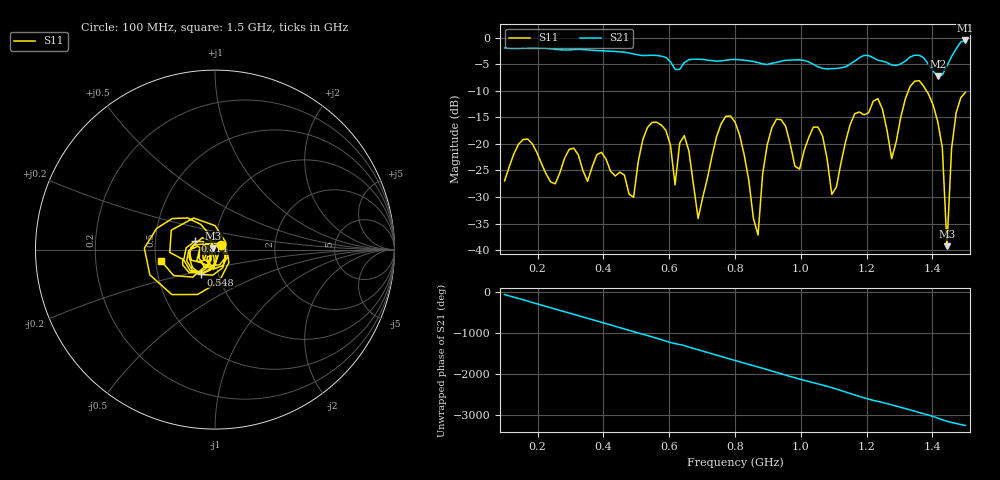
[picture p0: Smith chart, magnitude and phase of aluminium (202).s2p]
! NanoVNA-App
! Date: 2025-09-25 14:56:51
! Start: 100MHz Stop: 1,5GHz Points: 101
! S-Parameter data: F S11 S21 S12 S22
# Hz S RI R 50
!  Frequency  S11_Real  S11_Imag  S21_Real  S21_Imag  S12_Real  S12_Imag  S22_Real  S22_Imag
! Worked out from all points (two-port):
!   101 points, 100 MHz to 1.5 GHz, reference 50 ohm
!   highest |S21| = -0.52 dB at 1.5 GHz (marker M1); lowest = -7.3 dB at 1.416 GHz (marker M2)
!   |S21| within 3 dB of the highest: start of sweep to 578.5 MHz; 1.458 GHz to end of sweep (the widest 2 of 4)
!   lowest |S11| = -39.3 dB at 1.444 GHz (marker M3), VSWR 1.02, Z = 49.2 + j0.681 ohm
!   |S11| at or under -10 dB: start of sweep to 1.327 GHz; 1.382 GHz to end of sweep
!   S12 and S22 are empty: the file has one direction only
!   S11 on the Smith chart (normalised r, x): 100 MHz: 1.07, +0.06; 548 MHz: 0.82, -0.23; 814 MHz: 0.79, +0.07; 1.5 GHz: 0.54, -0.08
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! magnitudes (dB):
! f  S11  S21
! 100 MHz  -27.0  -1.9
! 338 MHz  -25.0  -2.2
! 492 MHz  -30.1  -3.1
! 548 MHz  -16.0  -3.3
! 576 MHz  -16.4  -3.5
! 618 MHz  -27.7  -6.0
! 646 MHz  -18.5  -4.7
! 688 MHz  -34.0  -4.1
! 800 MHz  -15.9  -4.1
! 814 MHz  -18.3  -4.2
! 870 MHz  -37.2  -4.7
! 912 MHz  -17.0  -4.8
! 996 MHz  -24.8  -4.2
! 1.038 GHz  -16.8  -5.0
! 1.094 GHz  -29.5  -5.8
! 1.22 GHz  -12.0  -3.8
! 1.276 GHz  -22.8  -5.1
! 1.346 GHz  -8.2  -3.3
! 1.416 GHz  -15.8  -7.3
! 1.444 GHz  -39.3  -5.3
! 1.458 GHz  -20.9  -3.5
! 1.5 GHz  -10.3  -0.5
